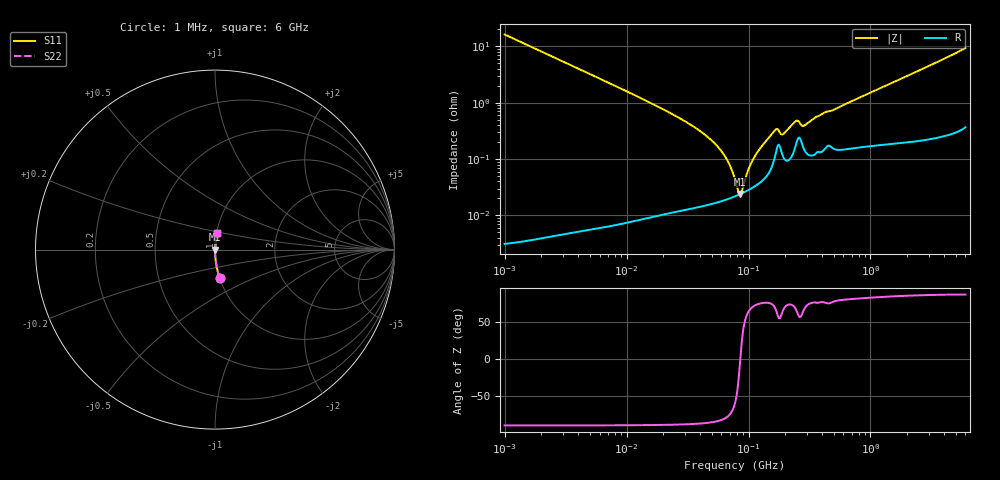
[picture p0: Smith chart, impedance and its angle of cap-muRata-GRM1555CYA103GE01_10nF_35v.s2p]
!Murata Part Number: GRM1555CYA103GE01
!These Parameters are Measured in Series Mode Connection
!  o--ll--o
!Port1  Port2
!  o------o
!Operation Temp=25[degC], DC Bias Voltage=0[V]
!Freq. Start=1[MHz] Stop=6[GHz], 401[Steps]
!Data Generated on Mar 5, 2019
# Hz S RI R 50
!Freq.(Hz) S11(Real) S11(Imag) S21(Real) S21(Imag) S12(Real) S12(Imag) S22(Real) S22(Imag)
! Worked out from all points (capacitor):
!   401 points, 1 MHz to 6 GHz, reference 50 ohm
!   read as one part in series: C = 9.86 nF near 1.044 MHz
!   lowest |Z| = 24.1 mohm at 84.5 MHz (marker M1)
!   series resonance near 85.56 MHz, so ESL is about 350 pH
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1000000  0.0254 -0.1573  0.9746 0.1573  0.9746 0.1573  0.0254 -0.1573
4293785  0.00145 -0.0374  0.9985 0.0374  0.9985 0.0374  0.00145 -0.0374
1.843659e7  0.000169 -0.00831  0.9998 0.00831  0.9998 0.00831  0.000169 -0.00831
3.389622e7  0.000148 -0.00399  0.9999 0.00399  0.9999 0.00399  0.000148 -0.00399
5.013812e7  0.000164 -0.0021  0.9998 0.0021  0.9998 0.0021  0.000164 -0.0021
6.508975e7  0.000191 -0.00104  0.9998 0.00104  0.9998 0.00104  0.000191 -0.00104
7.100585e7  0.000203 -0.000706  0.9998 0.000706  0.9998 0.000706  0.000203 -0.000706
7.745967e7  0.000218 -0.000376  0.9998 0.000376  0.9998 0.000376  0.000218 -0.000376
8.090333e7  0.000227 -0.000211  0.9998 0.000211  0.9998 0.000211  0.000227 -0.000211
8.450008e7  0.000236 -4.7e-05  0.9998 4.7e-05  0.9998 4.7e-05  0.000236 -4.7e-05
8.825674e7  0.000247 0.000118  0.9998 -0.000118  0.9998 -0.000118  0.000247 0.000118
1.005588e8  0.000285 0.000618  0.9997 -0.000618  0.9997 -0.000618  0.000285 0.000618
1.121107e8  0.000328 0.00105  0.9997 -0.00105  0.9997 -0.00105  0.000328 0.00105
1.622626e8  0.000988 0.00296  0.999 -0.00296  0.999 -0.00296  0.000988 0.00296
1.694764e8  0.00147 0.00308  0.9985 -0.00308  0.9985 -0.00308  0.00147 0.00308
1.930997e8  0.00108 0.00257  0.9989 -0.00257  0.9989 -0.00257  0.00108 0.00257
2.452905e8  0.00185 0.00435  0.9982 -0.00435  0.9982 -0.00435  0.00185 0.00435
2.856264e8  0.00149 0.00361  0.9985 -0.00361  0.9985 -0.00361  0.00149 0.00361
3.325952e8  0.00118 0.00485  0.9988 -0.00485  0.9988 -0.00485  0.00118 0.00485
4.224887e8  0.00155 0.00651  0.9984 -0.00651  0.9984 -0.00651  0.00155 0.00651
1.428092e9  0.00227 0.0211  0.9977 -0.0211  0.9977 -0.0211  0.00227 0.0211
6e9  0.012 0.0911  0.988 -0.0911  0.988 -0.0911  0.012 0.0911
